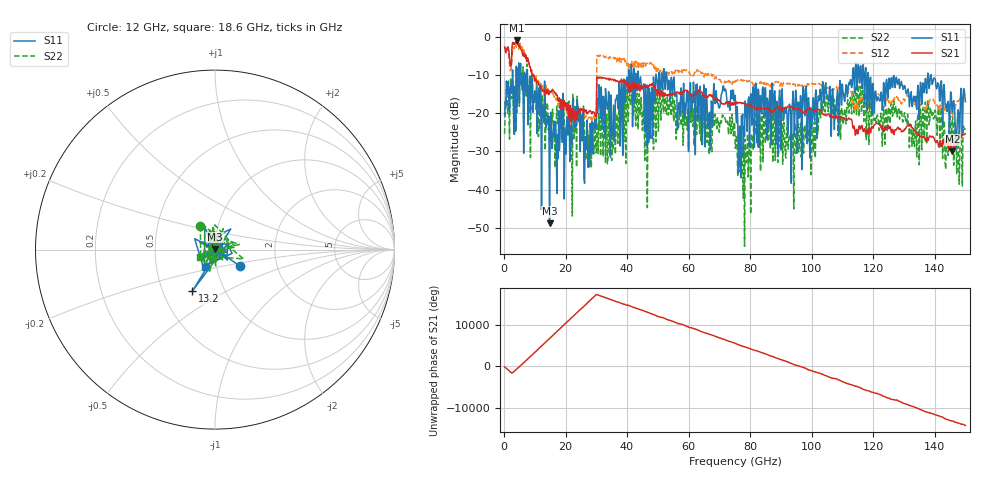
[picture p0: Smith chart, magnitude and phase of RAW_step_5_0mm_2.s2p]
!  2-Port S-parameters saved by WinCal
! VAR MeasName=S-Parameters (CALIBRATED_DATA) read from VNA (MS4647B)
! VAR MeasDate=27-Apr-22 17:19:28
! VAR NAME=RAW_stepline_5mm_2
! VAR FILENAME=RAW_stepline_5mm_2.S2P
! VAR DATE=27-Apr-22 17:19:28
! VAR PHYS_PORTS=1,2
! VAR ObjTypeName=DATASET
! VAR IndexType=Frequency
! VAR ChuckHeaterState=Unknown
! VAR ChuckTemp=NaN
! VAR ChuckTempUnits=Unknown
# Hz S RI R 50
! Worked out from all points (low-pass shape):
!   750 points, 200 MHz to 150 GHz, reference 50 ohm
!   highest |S21| = -1.00 dB at 4.2 GHz (marker M1); lowest = -29.9 dB at 145.8 GHz (marker M2)
!   |S21| within 3 dB of the highest: 681.7 MHz to 1.613 GHz (931.3 MHz wide, 81.2 % of centre); 2.539 GHz to 5.887 GHz (3.348 GHz wide, 79.5 % of centre)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
!   lowest |S11| = -48.8 dB at 14.8 GHz (marker M3), VSWR 1.01, Z = 50 + j0.365 ohm
!   |S11| at or under -10 dB: 7.602 GHz to 40.52 GHz (32.92 GHz wide, 137 % of centre); 52.9 GHz to 113.3 GHz (60.43 GHz wide, 72.7 % of centre); 118.4 GHz to 137.8 GHz (19.33 GHz wide, 15.1 % of centre)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
!   |S22| runs from -54.8 to -7.2 dB; largest |S21 - S12| = 1.7
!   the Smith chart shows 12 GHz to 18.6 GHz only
!   S11 on the Smith chart (normalised r, x): 12 GHz: 1.30, -0.25; 13.2 GHz: 0.71, -0.35; 18.6 GHz: 0.87, -0.17
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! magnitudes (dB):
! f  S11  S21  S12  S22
! 200 MHz  -20.7  -2.7  -2.6  -25.4
! 4.2 GHz  -18.3  -1.0  -1.5  -19.8
! 12 GHz  -15.4  -13.4  -12.6  -16.2
! 13.2 GHz  -11.6  -15.4  -15.0  -17.2
! 14.8 GHz  -48.8  -14.3  -14.2  -27.1
! 18.6 GHz  -19.0  -16.4  -18.1  -20.4
! 25.2 GHz  -21.0  -19.2  -20.8  -23.1
! 29.4 GHz  -23.4  -19.9  -21.5  -26.4
! 30.8 GHz  -12.5  -10.9  -5.1  -20.1
! 35 GHz  -25.9  -11.2  -5.4  -32.4
! 41.2 GHz  -12.6  -12.3  -8.5  -18.1
! 47.2 GHz  -13.5  -13.0  -7.1  -17.8
! 50.2 GHz  -12.3  -13.9  -9.0  -24.7
! 75.2 GHz  -15.4  -17.8  -11.5  -29.2
! 76.8 GHz  -29.5  -17.2  -11.4  -35.4
! 81.4 GHz  -29.0  -18.4  -12.1  -22.3
! 100.2 GHz  -21.7  -19.1  -12.3  -24.2
! 104.6 GHz  -12.1  -20.6  -13.1  -17.9
! 125.2 GHz  -10.8  -24.1  -17.3  -19.0
! 145.8 GHz  -19.8  -29.9  -20.9  -20.7
! 147.4 GHz  -21.9  -26.8  -16.9  -27.3
! 150 GHz  -17.0  -25.4  -16.2  -24.4
